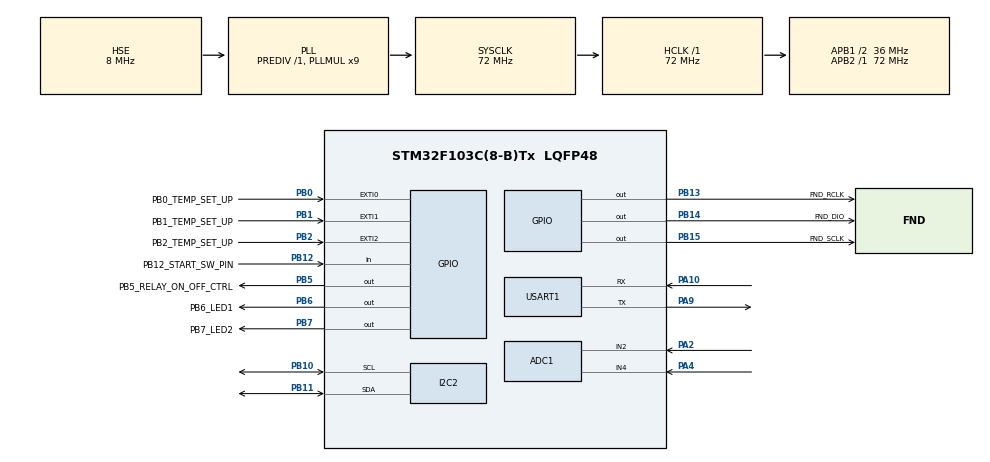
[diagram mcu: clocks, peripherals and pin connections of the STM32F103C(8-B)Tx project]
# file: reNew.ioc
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ADC1.Channel-1\#ChannelRegularConversion=ADC_CHANNEL_2
ADC1.Channel-3\#ChannelInjectedConversion=ADC_CHANNEL_2
ADC1.ContinuousConvMode=DISABLE
ADC1.EnableAnalogWatchDog=false
ADC1.EnableInjectedConversion=ENABLE
ADC1.InjNumberOfConversion=1
ADC1.InjectedOffset-3\#ChannelInjectedConversion=0
ADC1.InjectedRank-3\#ChannelInjectedConversion=1
ADC1.NbrOfConversion=1
ADC1.NbrOfConversionFlag=1
ADC1.Rank-1\#ChannelRegularConversion=1
ADC1.SamplingTime-1\#ChannelRegularConversion=ADC_SAMPLETIME_28CYCLES_5
ADC1.SamplingTime-3\#ChannelInjectedConversion=ADC_SAMPLETIME_1CYCLE_5
ADC1.master=1
Dma.ADC1.0.Direction=DMA_PERIPH_TO_MEMORY
Dma.ADC1.0.Instance=DMA1_Channel1
Dma.ADC1.0.MemDataAlignment=DMA_MDATAALIGN_HALFWORD
Dma.ADC1.0.MemInc=DMA_MINC_ENABLE
Dma.ADC1.0.Mode=DMA_CIRCULAR
Dma.ADC1.0.PeriphDataAlignment=DMA_PDATAALIGN_HALFWORD
Dma.ADC1.0.PeriphInc=DMA_PINC_DISABLE
Dma.ADC1.0.Priority=DMA_PRIORITY_LOW
Dma.Request0=ADC1
I2C2.DualAddressMode=I2C_DUALADDRESS_ENABLE
I2C2.I2C_Mode=I2C_Fast
I2C2.NoStretchMode=I2C_NOSTRETCH_ENABLE
I2C2.OwnAddress=127
I2C2.OwnAddress2=88
Mcu.Family=STM32F1
Mcu.Name=STM32F103C(8-B)Tx
Mcu.Package=LQFP48
NVIC.DMA1_Channel1_IRQn=true\:0\:0\:false\:false\:true\:false\:true\:true
NVIC.EXTI0_IRQn=true\:9\:0\:true\:false\:true\:true\:true\:true
NVIC.EXTI1_IRQn=true\:9\:0\:true\:false\:true\:true\:true\:true
NVIC.EXTI2_IRQn=true\:9\:0\:true\:false\:true\:true\:true\:true
NVIC.PriorityGroup=NVIC_PRIORITYGROUP_4
NVIC.TIM2_IRQn=true\:0\:0\:false\:false\:true\:true\:true\:true
NVIC.TIM3_IRQn=true\:10\:0\:true\:false\:true\:true\:true\:true
PA10.Mode=Asynchronous
PA10.Signal=USART1_RX
PA13.Mode=Serial_Wire
PA13.Signal=SYS_JTMS-SWDIO
PA14.Mode=Serial_Wire
PA14.Signal=SYS_JTCK-SWCLK
PA2.Signal=ADCx_IN2
PA4.Signal=ADCx_IN4
PA9.Mode=Asynchronous
PA9.Signal=USART1_TX
PB0.GPIO_Label=PB0_TEMP_SET_UP
PB0.GPIO_PuPd=GPIO_PULLUP
PB0.Signal=GPXTI0
PB1.GPIO_Label=PB1_TEMP_SET_UP
PB1.GPIO_PuPd=GPIO_PULLUP
PB1.Signal=GPXTI1
PB10.Mode=I2C
PB10.Signal=I2C2_SCL
PB11.Mode=I2C
PB11.Signal=I2C2_SDA
PB12.GPIO_Label=PB12_START_SW_PIN
PB12.GPIO_PuPd=GPIO_PULLUP
PB12.Signal=GPIO_Input
PB13.GPIO_Label=FND_RCLK
PB13.GPIO_PuPd=GPIO_PULLUP
PB13.GPIO_Speed=GPIO_SPEED_FREQ_HIGH
PB13.PinState=GPIO_PIN_SET
PB13.Signal=GPIO_Output
PB14.GPIO_Label=FND_DIO
PB14.GPIO_PuPd=GPIO_PULLUP
PB14.GPIO_Speed=GPIO_SPEED_FREQ_HIGH
PB14.PinState=GPIO_PIN_SET
PB14.Signal=GPIO_Output
PB15.GPIO_Label=FND_SCLK
PB15.GPIO_PuPd=GPIO_PULLUP
PB15.GPIO_Speed=GPIO_SPEED_FREQ_HIGH
PB15.PinState=GPIO_PIN_SET
PB15.Signal=GPIO_Output
PB2.GPIO_Label=PB2_TEMP_SET_UP
PB2.GPIO_PuPd=GPIO_PULLUP
PB2.Signal=GPXTI2
PB5.GPIO_Label=PB5_RELAY_ON_OFF_CTRL
PB5.GPIO_PuPd=GPIO_PULLUP
PB5.GPIO_Speed=GPIO_SPEED_FREQ_HIGH
PB5.PinState=GPIO_PIN_SET
PB5.Signal=GPIO_Output
PB6.GPIO_Label=PB6_LED1
PB6.GPIO_PuPd=GPIO_PULLUP
PB6.GPIO_Speed=GPIO_SPEED_FREQ_HIGH
PB6.PinState=GPIO_PIN_SET
PB6.Signal=GPIO_Output
PB7.GPIO_Label=PB7_LED2
PB7.GPIO_PuPd=GPIO_PULLUP
PB7.GPIO_Speed=GPIO_SPEED_FREQ_HIGH
PB7.PinState=GPIO_PIN_SET
PB7.Signal=GPIO_Output
PC14-OSC32_IN.Mode=LSE-External-Oscillator
PC14-OSC32_IN.Signal=RCC_OSC32_IN
PC15-OSC32_OUT.Mode=LSE-External-Oscillator
PC15-OSC32_OUT.Signal=RCC_OSC32_OUT
PD0-OSC_IN.Mode=HSE-External-Oscillator
PD0-OSC_IN.Signal=RCC_OSC_IN
PD1-OSC_OUT.Mode=HSE-External-Oscillator
PD1-OSC_OUT.Signal=RCC_OSC_OUT
ProjectManager.HeapSize=0x200
ProjectManager.StackSize=0x400
ProjectManager.TargetToolchain=STM32CubeIDE
RCC.ADCPresc=RCC_ADCPCLK2_DIV6
RCC.AHBFreq_Value=72000000
RCC.APB1CLKDivider=RCC_HCLK_DIV2
RCC.APB1Freq_Value=36000000
RCC.APB1TimFreq_Value=72000000
RCC.APB2Freq_Value=72000000
RCC.APB2TimFreq_Value=72000000
RCC.HCLKFreq_Value=72000000
RCC.PLLMUL=RCC_PLL_MUL9
RCC.PLLSourceVirtual=RCC_PLLSOURCE_HSE
RCC.SYSCLKFreq_VALUE=72000000
RCC.SYSCLKSource=RCC_SYSCLKSOURCE_PLLCLK
RCC.USBFreq_Value=72000000
SH.ADCx_IN2.0=ADC1_IN2,IN2
SH.ADCx_IN4.0=ADC1_IN4,IN4
TIM2.Period=0xFFFF
TIM2.Prescaler=72-1
TIM3.Period=50-1
TIM3.Prescaler=72-1
USART1.VirtualMode=VM_ASYNC
VP_TIM2_VS_ClockSourceINT.Mode=Internal
VP_TIM3_VS_ClockSourceINT.Mode=Internal
board=custom

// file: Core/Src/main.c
/* USER CODE BEGIN Header */
/**
  ******************************************************************************
  * @file           : main.c
  * @brief          : Main program body
  ******************************************************************************
  * @attention
  *
  * Copyright (c) 2023 STMicroelectronics.
  * All rights reserved.
  *
  * This software is licensed under terms that can be found in the LICENSE file
  * in the root directory of this software component.
  * If no LICENSE file comes with this software, it is provided AS-IS.
  *
  ******************************************************************************
  */
/* USER CODE END Header */
#include "main.h"

/* USER CODE BEGIN Includes */
#include<stdio.h>
#include "fnd_controller.h"
#include "ds18b20.h"
#include "heaterController.h"
#include "fonts.h"
#include "ssd1306.h"
#include "controlType.h"
#include "oled_controller.h"
#include"ledController.h"
#include "g_var.h"

#include "buttonController.h"
/* USER CODE END Includes */

/* USER CODE BEGIN PD */

static uint16_t m_adc_value ;
static uint16_t m_voltage;
static uint16_t m_data[1];
/* USER CODE END PD */

ADC_HandleTypeDef hadc1;
DMA_HandleTypeDef hdma_adc1;

I2C_HandleTypeDef hi2c2;

TIM_HandleTypeDef htim2;
TIM_HandleTypeDef htim3;

UART_HandleTypeDef huart1;

/* USER CODE BEGIN PV */
int _write(int file,char *p,int len)
{
	HAL_UART_Transmit(&huart1, (uint8_t *)p, len, 10);
	return len;
}
/* USER CODE END PV */

void SystemClock_Config(void);
static void MX_GPIO_Init(void);
static void MX_DMA_Init(void);
static void MX_TIM2_Init(void);
static void MX_TIM3_Init(void);
static void MX_USART1_UART_Init(void);
static void MX_I2C2_Init(void);
static void MX_ADC1_Init(void);

int main(void)
{
  /* USER CODE BEGIN 1 */
	float temper=0.0;

  /* USER CODE END 1 */

  /* MCU Configuration--------------------------------------------------------*/

  /* Reset of all peripherals, Initializes the Flash interface and the Systick. */
  HAL_Init();

  /* Configure the system clock */
  SystemClock_Config();

  /* Initialize all configured peripherals */
  MX_GPIO_Init();
  MX_DMA_Init();
  MX_TIM2_Init();
  MX_TIM3_Init();
  MX_USART1_UART_Init();
  MX_I2C2_Init();
  MX_ADC1_Init();
  /* USER CODE BEGIN 2 */
  init_fnd();
  SSD1306_Init();
  HAL_TIM_Base_Start_IT(&htim3);

  Ds18b20_Init_simple();

  opening();

  SSD1306_UpdateScreen(); //display

  /* USER CODE END 2 */

  /* Infinite loop */
  /* USER CODE BEGIN WHILE */

//  HAL_ADC_Start(&hadc1);

  HAL_ADC_Start_DMA(&hadc1,m_data,1);
  while (1)
  {

//	  HAL_ADC_PollForConversion(&hadc1, HAL_MAX_DELAY);

//	  m_adc_value=HAL_ADC_GetValue(&hadc1);

	  if (m_data[0]>1){
		   m_voltage=(float) m_data[0]*(3.294f/4095.0f);
		   m_voltage+=0.055;
	  }else{
		  m_voltage=0.0;
	  }
	  HAL_Delay(10);
//	 checkButton();
//
//	if (!isConverting())
//	{
//		 StartConverting();
//	}
//	checkConverting();
//
//	if (!isConverting())
//	{
//		 temper=getTemper();
//
//	}
//	heaterOn(temper);

    /* USER CODE END WHILE */

  }
}

void SystemClock_Config(void)
{
  RCC_OscInitTypeDef RCC_OscInitStruct = {0};
  RCC_ClkInitTypeDef RCC_ClkInitStruct = {0};
  RCC_PeriphCLKInitTypeDef PeriphClkInit = {0};

  /** Initializes the RCC Oscillators according to the specified parameters
  * in the RCC_OscInitTypeDef structure.
  */
  RCC_OscInitStruct.OscillatorType = RCC_OSCILLATORTYPE_HSE;
  RCC_OscInitStruct.HSEState = RCC_HSE_ON;
  RCC_OscInitStruct.HSEPredivValue = RCC_HSE_PREDIV_DIV1;
  RCC_OscInitStruct.HSIState = RCC_HSI_ON;
  RCC_OscInitStruct.PLL.PLLState = RCC_PLL_ON;
  RCC_OscInitStruct.PLL.PLLSource = RCC_PLLSOURCE_HSE;
  RCC_OscInitStruct.PLL.PLLMUL = RCC_PLL_MUL9;
  if (HAL_RCC_OscConfig(&RCC_OscInitStruct) != HAL_OK)
  {
    Error_Handler();
  }

  /** Initializes the CPU, AHB and APB buses clocks
  */
  RCC_ClkInitStruct.ClockType = RCC_CLOCKTYPE_HCLK|RCC_CLOCKTYPE_SYSCLK
                              |RCC_CLOCKTYPE_PCLK1|RCC_CLOCKTYPE_PCLK2;
  RCC_ClkInitStruct.SYSCLKSource = RCC_SYSCLKSOURCE_PLLCLK;
  RCC_ClkInitStruct.AHBCLKDivider = RCC_SYSCLK_DIV1;
  RCC_ClkInitStruct.APB1CLKDivider = RCC_HCLK_DIV2;
  RCC_ClkInitStruct.APB2CLKDivider = RCC_HCLK_DIV1;

  if (HAL_RCC_ClockConfig(&RCC_ClkInitStruct, FLASH_LATENCY_2) != HAL_OK)
  {
    Error_Handler();
  }
  PeriphClkInit.PeriphClockSelection = RCC_PERIPHCLK_ADC;
  PeriphClkInit.AdcClockSelection = RCC_ADCPCLK2_DIV6;
  if (HAL_RCCEx_PeriphCLKConfig(&PeriphClkInit) != HAL_OK)
  {
    Error_Handler();
  }
}

static void MX_ADC1_Init(void)
{

  ADC_ChannelConfTypeDef sConfig = {0};
  ADC_InjectionConfTypeDef sConfigInjected = {0};

  /** Common config
  */
  hadc1.Instance = ADC1;
  hadc1.Init.ScanConvMode = ADC_SCAN_DISABLE;
  hadc1.Init.ContinuousConvMode = DISABLE;
  hadc1.Init.DiscontinuousConvMode = DISABLE;
  hadc1.Init.ExternalTrigConv = ADC_SOFTWARE_START;
  hadc1.Init.DataAlign = ADC_DATAALIGN_RIGHT;
  hadc1.Init.NbrOfConversion = 1;
  if (HAL_ADC_Init(&hadc1) != HAL_OK)
  {
    Error_Handler();
  }

  /** Configure Regular Channel
  */
  sConfig.Channel = ADC_CHANNEL_2;
  sConfig.Rank = ADC_REGULAR_RANK_1;
  sConfig.SamplingTime = ADC_SAMPLETIME_28CYCLES_5;
  if (HAL_ADC_ConfigChannel(&hadc1, &sConfig) != HAL_OK)
  {
    Error_Handler();
  }

  /** Configure Injected Channel
  */
  sConfigInjected.InjectedChannel = ADC_CHANNEL_2;
  sConfigInjected.InjectedRank = ADC_INJECTED_RANK_1;
  sConfigInjected.InjectedNbrOfConversion = 1;
  sConfigInjected.InjectedSamplingTime = ADC_SAMPLETIME_1CYCLE_5;
  sConfigInjected.ExternalTrigInjecConv = ADC_INJECTED_SOFTWARE_START;
  sConfigInjected.AutoInjectedConv = DISABLE;
  sConfigInjected.InjectedDiscontinuousConvMode = DISABLE;
  sConfigInjected.InjectedOffset = 0;
  if (HAL_ADCEx_InjectedConfigChannel(&hadc1, &sConfigInjected) != HAL_OK)
  {
    Error_Handler();
  }

}

static void MX_I2C2_Init(void)
{

  hi2c2.Instance = I2C2;
  hi2c2.Init.ClockSpeed = 400000;
  hi2c2.Init.DutyCycle = I2C_DUTYCYCLE_2;
  hi2c2.Init.OwnAddress1 = 254;
  hi2c2.Init.AddressingMode = I2C_ADDRESSINGMODE_7BIT;
  hi2c2.Init.DualAddressMode = I2C_DUALADDRESS_ENABLE;
  hi2c2.Init.OwnAddress2 = 176;
  hi2c2.Init.GeneralCallMode = I2C_GENERALCALL_DISABLE;
  hi2c2.Init.NoStretchMode = I2C_NOSTRETCH_ENABLE;
  if (HAL_I2C_Init(&hi2c2) != HAL_OK)
  {
    Error_Handler();
  }

}

static void MX_TIM2_Init(void)
{

  TIM_ClockConfigTypeDef sClockSourceConfig = {0};
  TIM_MasterConfigTypeDef sMasterConfig = {0};

  htim2.Instance = TIM2;
  htim2.Init.Prescaler = 72-1;
  htim2.Init.CounterMode = TIM_COUNTERMODE_UP;
  htim2.Init.Period = 0xFFFF;
  htim2.Init.ClockDivision = TIM_CLOCKDIVISION_DIV1;
  htim2.Init.AutoReloadPreload = TIM_AUTORELOAD_PRELOAD_DISABLE;
  if (HAL_TIM_Base_Init(&htim2) != HAL_OK)
  {
    Error_Handler();
  }
  sClockSourceConfig.ClockSource = TIM_CLOCKSOURCE_INTERNAL;
  if (HAL_TIM_ConfigClockSource(&htim2, &sClockSourceConfig) != HAL_OK)
  {
    Error_Handler();
  }
  sMasterConfig.MasterOutputTrigger = TIM_TRGO_RESET;
  sMasterConfig.MasterSlaveMode = TIM_MASTERSLAVEMODE_DISABLE;
  if (HAL_TIMEx_MasterConfigSynchronization(&htim2, &sMasterConfig) != HAL_OK)
  {
    Error_Handler();
  }

}

static void MX_TIM3_Init(void)
{

  TIM_ClockConfigTypeDef sClockSourceConfig = {0};
  TIM_MasterConfigTypeDef sMasterConfig = {0};

  htim3.Instance = TIM3;
  htim3.Init.Prescaler = 72-1;
  htim3.Init.CounterMode = TIM_COUNTERMODE_UP;
  htim3.Init.Period = 50-1;
  htim3.Init.ClockDivision = TIM_CLOCKDIVISION_DIV1;
  htim3.Init.AutoReloadPreload = TIM_AUTORELOAD_PRELOAD_DISABLE;
  if (HAL_TIM_Base_Init(&htim3) != HAL_OK)
  {
    Error_Handler();
  }
  sClockSourceConfig.ClockSource = TIM_CLOCKSOURCE_INTERNAL;
  if (HAL_TIM_ConfigClockSource(&htim3, &sClockSourceConfig) != HAL_OK)
  {
    Error_Handler();
  }
  sMasterConfig.MasterOutputTrigger = TIM_TRGO_RESET;
  sMasterConfig.MasterSlaveMode = TIM_MASTERSLAVEMODE_DISABLE;
  if (HAL_TIMEx_MasterConfigSynchronization(&htim3, &sMasterConfig) != HAL_OK)
  {
    Error_Handler();
  }

}

static void MX_USART1_UART_Init(void)
{

  huart1.Instance = USART1;
  huart1.Init.BaudRate = 115200;
  huart1.Init.WordLength = UART_WORDLENGTH_8B;
  huart1.Init.StopBits = UART_STOPBITS_1;
  huart1.Init.Parity = UART_PARITY_NONE;
  huart1.Init.Mode = UART_MODE_TX_RX;
  huart1.Init.HwFlowCtl = UART_HWCONTROL_NONE;
  huart1.Init.OverSampling = UART_OVERSAMPLING_16;
  if (HAL_UART_Init(&huart1) != HAL_OK)
  {
    Error_Handler();
  }

}

static void MX_DMA_Init(void)
{

  /* DMA controller clock enable */
  __HAL_RCC_DMA1_CLK_ENABLE();

  /* DMA interrupt init */
  /* DMA1_Channel1_IRQn interrupt configuration */
  HAL_NVIC_SetPriority(DMA1_Channel1_IRQn, 0, 0);
  HAL_NVIC_EnableIRQ(DMA1_Channel1_IRQn);

}

static void MX_GPIO_Init(void)
{
  GPIO_InitTypeDef GPIO_InitStruct = {0};

  /* GPIO Ports Clock Enable */
  __HAL_RCC_GPIOC_CLK_ENABLE();
  __HAL_RCC_GPIOD_CLK_ENABLE();
  __HAL_RCC_GPIOA_CLK_ENABLE();
  __HAL_RCC_GPIOB_CLK_ENABLE();

  /*Configure GPIO pin Output Level */
  HAL_GPIO_WritePin(GPIOB, FND_RCLK_Pin|FND_DIO_Pin|FND_SCLK_Pin|PB5_RELAY_ON_OFF_CTRL_Pin
                          |PB6_LED1_Pin|PB7_LED2_Pin, GPIO_PIN_SET);

  /*Configure GPIO pins : PB0_TEMP_SET_UP_Pin PB1_TEMP_SET_UP_Pin PB2_TEMP_SET_UP_Pin */
  GPIO_InitStruct.Pin = PB0_TEMP_SET_UP_Pin|PB1_TEMP_SET_UP_Pin|PB2_TEMP_SET_UP_Pin;
  GPIO_InitStruct.Mode = GPIO_MODE_IT_RISING;
  GPIO_InitStruct.Pull = GPIO_PULLUP;
  HAL_GPIO_Init(GPIOB, &GPIO_InitStruct);

  /*Configure GPIO pin : PB12_START_SW_PIN_Pin */
  GPIO_InitStruct.Pin = PB12_START_SW_PIN_Pin;
  GPIO_InitStruct.Mode = GPIO_MODE_INPUT;
  GPIO_InitStruct.Pull = GPIO_PULLUP;
  HAL_GPIO_Init(PB12_START_SW_PIN_GPIO_Port, &GPIO_InitStruct);

  /*Configure GPIO pins : FND_RCLK_Pin FND_DIO_Pin FND_SCLK_Pin PB5_RELAY_ON_OFF_CTRL_Pin
                           PB6_LED1_Pin PB7_LED2_Pin */
  GPIO_InitStruct.Pin = FND_RCLK_Pin|FND_DIO_Pin|FND_SCLK_Pin|PB5_RELAY_ON_OFF_CTRL_Pin
                          |PB6_LED1_Pin|PB7_LED2_Pin;
  GPIO_InitStruct.Mode = GPIO_MODE_OUTPUT_PP;
  GPIO_InitStruct.Pull = GPIO_PULLUP;
  GPIO_InitStruct.Speed = GPIO_SPEED_FREQ_HIGH;
  HAL_GPIO_Init(GPIOB, &GPIO_InitStruct);

  /* EXTI interrupt init*/
  HAL_NVIC_SetPriority(EXTI0_IRQn, 9, 0);
  HAL_NVIC_EnableIRQ(EXTI0_IRQn);

  HAL_NVIC_SetPriority(EXTI1_IRQn, 9, 0);
  HAL_NVIC_EnableIRQ(EXTI1_IRQn);

  HAL_NVIC_SetPriority(EXTI2_IRQn, 9, 0);
  HAL_NVIC_EnableIRQ(EXTI2_IRQn);

}

void Error_Handler(void)
{
  __disable_irq();
  while (1)
  {
  }
}
